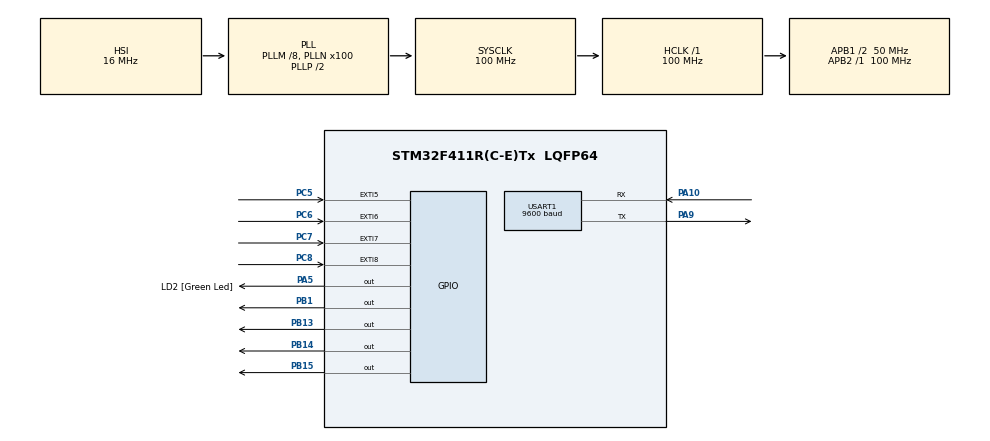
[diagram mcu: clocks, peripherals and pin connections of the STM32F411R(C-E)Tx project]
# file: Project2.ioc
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Mcu.Family=STM32F4
Mcu.Name=STM32F411R(C-E)Tx
Mcu.Package=LQFP64
NVIC.EXTI9_5_IRQn=true\:0\:0\:false\:false\:true\:true\:true
NVIC.PriorityGroup=NVIC_PRIORITYGROUP_0
PA10.Mode=Asynchronous
PA10.Signal=USART1_RX
PA13.GPIO_Label=TMS
PA13.Mode=Serial_Wire
PA13.Signal=SYS_JTMS-SWDIO
PA14.GPIO_Label=TCK
PA14.Mode=Serial_Wire
PA14.Signal=SYS_JTCK-SWCLK
PA2.GPIO_Label=USART_TX
PA2.Signal=USART2_TX
PA3.GPIO_Label=USART_RX
PA3.Signal=USART2_RX
PA5.GPIO_Label=LD2 [Green Led]
PA5.Signal=GPIO_Output
PA9.Mode=Asynchronous
PA9.Signal=USART1_TX
PB1.GPIO_ModeDefaultOutputPP=GPIO_MODE_OUTPUT_PP
PB1.GPIO_PuPd=GPIO_PULLUP
PB1.Signal=GPIO_Output
PB13.GPIO_PuPd=GPIO_PULLUP
PB13.Signal=GPIO_Output
PB14.GPIO_PuPd=GPIO_PULLUP
PB14.Signal=GPIO_Output
PB15.GPIO_PuPd=GPIO_PULLUP
PB15.Signal=GPIO_Output
PB3.GPIO_Label=SWO
PB3.Signal=SYS_JTDO-SWO
PC14-OSC32_IN.Mode=LSE-External-Oscillator
PC14-OSC32_IN.Signal=RCC_OSC32_IN
PC15-OSC32_OUT.Mode=LSE-External-Oscillator
PC15-OSC32_OUT.Signal=RCC_OSC32_OUT
PC5.GPIO_ModeDefaultEXTI=GPIO_MODE_IT_FALLING
PC5.GPIO_PuPd=GPIO_PULLUP
PC5.Signal=GPXTI5
PC6.GPIO_ModeDefaultEXTI=GPIO_MODE_IT_FALLING
PC6.GPIO_PuPd=GPIO_PULLUP
PC6.Signal=GPXTI6
PC7.GPIO_ModeDefaultEXTI=GPIO_MODE_IT_FALLING
PC7.GPIO_PuPd=GPIO_PULLUP
PC7.Signal=GPXTI7
PC8.GPIO_ModeDefaultEXTI=GPIO_MODE_IT_FALLING
PC8.GPIO_PuPd=GPIO_PULLUP
PC8.Signal=GPXTI8
PH0\ -\ OSC_IN.Mode=HSE-External-Clock-Source
PH0\ -\ OSC_IN.Signal=RCC_OSC_IN
PH1\ -\ OSC_OUT.Mode=HSE-External-Clock-Source
PH1\ -\ OSC_OUT.Signal=RCC_OSC_OUT
ProjectManager.HeapSize=0x200
ProjectManager.StackSize=0x400
ProjectManager.TargetToolchain=STM32CubeIDE
RCC.48MHZClocksFreq_Value=50000000
RCC.AHBFreq_Value=100000000
RCC.APB1CLKDivider=RCC_HCLK_DIV2
RCC.APB1Freq_Value=50000000
RCC.APB1TimFreq_Value=100000000
RCC.APB2Freq_Value=100000000
RCC.APB2TimFreq_Value=100000000
RCC.CortexFreq_Value=100000000
RCC.FLatency-AdvancedSettings=FLASH_LATENCY_3
RCC.HCLKFreq_Value=100000000
RCC.HSE_VALUE=8000000
RCC.HSI_VALUE=16000000
RCC.PLLM=8
RCC.PLLN=100
RCC.SYSCLKFreq_VALUE=100000000
RCC.SYSCLKSource=RCC_SYSCLKSOURCE_PLLCLK
RCC.VCOOutputFreq_Value=200000000
USART1.BaudRate=9600
USART1.VirtualMode=VM_ASYNC
board=NUCLEO-F411RE

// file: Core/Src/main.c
/* USER CODE BEGIN Header */
/**
  ******************************************************************************
  * @file           : main.c
  * @brief          : Main program body
  ******************************************************************************
  * @attention
  *
  * <h2><center>&copy; Copyright (c) 2020 STMicroelectronics.
  * All rights reserved.</center></h2>
  *
  * This software component is licensed by ST under BSD 3-Clause license,
  * the "License"; You may not use this file except in compliance with the
  * License. You may obtain a copy of the License at:
  *                        opensource.org/licenses/BSD-3-Clause
  *
  ******************************************************************************
  */
/* USER CODE END Header */
#include "main.h"

/* USER CODE BEGIN Includes */
#include "string.h"
#include "stdlib.h"
#include "stdbool.h"
#include "stdio.h"
#include "memory.h"
#include "stdint.h"
#include "stm32f4xx_hal_rcc.h"
#include "stm32f4xx_hal.h"
#include "stm32f4xx_hal_exti.h"
#include "stm32f4xx_hal_flash_ex.h"
#include "stm32f4xx_hal_flash.h"
#include "stm32f4xx_hal_gpio.h"

/* USER CODE END Includes */

UART_HandleTypeDef huart1;

/* USER CODE BEGIN PV */
char keyChar = 0;
uint16_t key = 0;
/* USER CODE END PV */

void SystemClock_Config(void);
static void MX_GPIO_Init(void);
static void MX_USART1_UART_Init(void);
/* USER CODE BEGIN PFP */
void screenClear(void);
uint16_t keyPadScan(void);
/* USER CODE END PFP */

int main(void)
{

  /* MCU Configuration--------------------------------------------------------*/

  /* Reset of all peripherals, Initializes the Flash interface and the Systick. */
  HAL_Init();

  /* Configure the system clock */
  SystemClock_Config();

  /* Initialize all configured peripherals */
  MX_GPIO_Init();
  MX_USART1_UART_Init();
  /* USER CODE BEGIN 2 */

	  char sendMessage[]="send message\r\n";
	  char newLine[]="\r\n";
	  char message[16];
	  char keyPressed[2];
	  int CursorPosition = 0;
	  int NumberLocation = 1;
	  char RawString[32];
	  char NumberOneString[16];
	  char NumberTwoString[16];
	  char FunctionString[1];
	  float NumberOneFloat;
	  float NumberTwoFloat;
	  float ComputationResult;
	  char testmessage1[] = "we are on the first number!!";
	  char testmessage2[] = "we are on the second number!!";

  screenClear();

  HAL_GPIO_WritePin(GPIOB, GPIO_PIN_1|GPIO_PIN_13|GPIO_PIN_14|GPIO_PIN_15, GPIO_PIN_RESET);

  /* USER CODE END 2 */

  /* Infinite loop */
  /* USER CODE BEGIN WHILE */
  while (1)
  {

	 // key = keyPadScan();
	  if(keyChar != 0){

		  //if we get any input, save it to a character string!
		  RawString[CursorPosition] = keyChar;

		  //write to display
	//	  screenClear();
	//	  HAL_UART_Transmit(&huart1, RawString, CursorPosition + 1, HAL_MAX_DELAY);

		  //while we are on the first number
		  //while 0 < keychar < 9 OR keyChar is a . decimal place

		  if (((keyChar > 47 && keyChar < 58) || keyChar == 46) && NumberLocation == 1) {
			  NumberOneString[CursorPosition] = keyChar;
			  screenClear();
			//  HAL_UART_Transmit(&huart1, NumberOneString, CursorPosition + 1, HAL_MAX_DELAY);
		  }

		  if (keyChar == 43 || keyChar == 45 || keyChar == 42 || keyChar == 47) {
			  FunctionString[1] = keyChar;
			  NumberLocation == 2;
		  }

		  //while we are on the second number
		  //while 0 < keychar < 9 OR keyChar is a . decimal place

		  if (((keyChar > 47 && keyChar < 58) || keyChar == 46) && NumberLocation == 2) {
			  NumberTwoString[CursorPosition] = keyChar;
			  screenClear();
			//  HAL_UART_Transmit(&huart1, NumberTwoString, CursorPosition + 1, HAL_MAX_DELAY);
		  }

		  keyChar = 0;
		  CursorPosition++;

		  //while key # == 0, else calculate result
		  // if star == 1, calculate, print result

	  }

    /* USER CODE END WHILE */

  }
}

void SystemClock_Config(void)
{
  RCC_OscInitTypeDef RCC_OscInitStruct = {0};
  RCC_ClkInitTypeDef RCC_ClkInitStruct = {0};

  /** Configure the main internal regulator output voltage
  */
  __HAL_RCC_PWR_CLK_ENABLE();
  __HAL_PWR_VOLTAGESCALING_CONFIG(PWR_REGULATOR_VOLTAGE_SCALE1);
  /** Initializes the RCC Oscillators according to the specified parameters
  * in the RCC_OscInitTypeDef structure.
  */
  RCC_OscInitStruct.OscillatorType = RCC_OSCILLATORTYPE_HSI;
  RCC_OscInitStruct.HSIState = RCC_HSI_ON;
  RCC_OscInitStruct.HSICalibrationValue = RCC_HSICALIBRATION_DEFAULT;
  RCC_OscInitStruct.PLL.PLLState = RCC_PLL_ON;
  RCC_OscInitStruct.PLL.PLLSource = RCC_PLLSOURCE_HSI;
  RCC_OscInitStruct.PLL.PLLM = 8;
  RCC_OscInitStruct.PLL.PLLN = 100;
  RCC_OscInitStruct.PLL.PLLP = RCC_PLLP_DIV2;
  RCC_OscInitStruct.PLL.PLLQ = 4;
  if (HAL_RCC_OscConfig(&RCC_OscInitStruct) != HAL_OK)
  {
    Error_Handler();
  }
  /** Initializes the CPU, AHB and APB buses clocks
  */
  RCC_ClkInitStruct.ClockType = RCC_CLOCKTYPE_HCLK|RCC_CLOCKTYPE_SYSCLK
                              |RCC_CLOCKTYPE_PCLK1|RCC_CLOCKTYPE_PCLK2;
  RCC_ClkInitStruct.SYSCLKSource = RCC_SYSCLKSOURCE_PLLCLK;
  RCC_ClkInitStruct.AHBCLKDivider = RCC_SYSCLK_DIV1;
  RCC_ClkInitStruct.APB1CLKDivider = RCC_HCLK_DIV2;
  RCC_ClkInitStruct.APB2CLKDivider = RCC_HCLK_DIV1;

  if (HAL_RCC_ClockConfig(&RCC_ClkInitStruct, FLASH_LATENCY_3) != HAL_OK)
  {
    Error_Handler();
  }
}

static void MX_USART1_UART_Init(void)
{

  huart1.Instance = USART1;
  huart1.Init.BaudRate = 9600;
  huart1.Init.WordLength = UART_WORDLENGTH_8B;
  huart1.Init.StopBits = UART_STOPBITS_1;
  huart1.Init.Parity = UART_PARITY_NONE;
  huart1.Init.Mode = UART_MODE_TX_RX;
  huart1.Init.HwFlowCtl = UART_HWCONTROL_NONE;
  huart1.Init.OverSampling = UART_OVERSAMPLING_16;
  if (HAL_UART_Init(&huart1) != HAL_OK)
  {
    Error_Handler();
  }

}

static void MX_GPIO_Init(void)
{
  GPIO_InitTypeDef GPIO_InitStruct = {0};

  /* GPIO Ports Clock Enable */
  __HAL_RCC_GPIOC_CLK_ENABLE();
  __HAL_RCC_GPIOH_CLK_ENABLE();
  __HAL_RCC_GPIOA_CLK_ENABLE();
  __HAL_RCC_GPIOB_CLK_ENABLE();

  /*Configure GPIO pin Output Level */
  HAL_GPIO_WritePin(LD2_GPIO_Port, LD2_Pin, GPIO_PIN_RESET);

  /*Configure GPIO pin Output Level */
  HAL_GPIO_WritePin(GPIOB, GPIO_PIN_1|GPIO_PIN_13|GPIO_PIN_14|GPIO_PIN_15, GPIO_PIN_RESET);

  /*Configure GPIO pins : USART_TX_Pin USART_RX_Pin */
  GPIO_InitStruct.Pin = USART_TX_Pin|USART_RX_Pin;
  GPIO_InitStruct.Mode = GPIO_MODE_AF_PP;
  GPIO_InitStruct.Pull = GPIO_NOPULL;
  GPIO_InitStruct.Speed = GPIO_SPEED_FREQ_VERY_HIGH;
  GPIO_InitStruct.Alternate = GPIO_AF7_USART2;
  HAL_GPIO_Init(GPIOA, &GPIO_InitStruct);

  /*Configure GPIO pin : LD2_Pin */
  GPIO_InitStruct.Pin = LD2_Pin;
  GPIO_InitStruct.Mode = GPIO_MODE_OUTPUT_PP;
  GPIO_InitStruct.Pull = GPIO_NOPULL;
  GPIO_InitStruct.Speed = GPIO_SPEED_FREQ_LOW;
  HAL_GPIO_Init(LD2_GPIO_Port, &GPIO_InitStruct);

  /*Configure GPIO pins : PC5 PC6 PC7 PC8 */
  GPIO_InitStruct.Pin = GPIO_PIN_5|GPIO_PIN_6|GPIO_PIN_7|GPIO_PIN_8;
  GPIO_InitStruct.Mode = GPIO_MODE_IT_FALLING;
  GPIO_InitStruct.Pull = GPIO_PULLUP;
  HAL_GPIO_Init(GPIOC, &GPIO_InitStruct);

  /*Configure GPIO pins : PB1 PB13 PB14 PB15 */
  GPIO_InitStruct.Pin = GPIO_PIN_1|GPIO_PIN_13|GPIO_PIN_14|GPIO_PIN_15;
  GPIO_InitStruct.Mode = GPIO_MODE_OUTPUT_PP;
  GPIO_InitStruct.Pull = GPIO_PULLUP;
  GPIO_InitStruct.Speed = GPIO_SPEED_FREQ_LOW;
  HAL_GPIO_Init(GPIOB, &GPIO_InitStruct);

  /* EXTI interrupt init*/
  HAL_NVIC_SetPriority(EXTI9_5_IRQn, 0, 0);
  HAL_NVIC_EnableIRQ(EXTI9_5_IRQn);

}

/* USER CODE BEGIN 4 */
void screenClear(void){
	uint8_t clearInstruction[]={0x7C, 0x2D};
	HAL_UART_Transmit(&huart1, (uint8_t *) clearInstruction, sizeof(clearInstruction), HAL_MAX_DELAY);

}

uint16_t keyPadScan(void){

	return 0;

}
/* USER CODE END 4 */

void Error_Handler(void)
{
}

/************************ (C) COPYRIGHT STMicroelectronics *****END OF FILE****/
